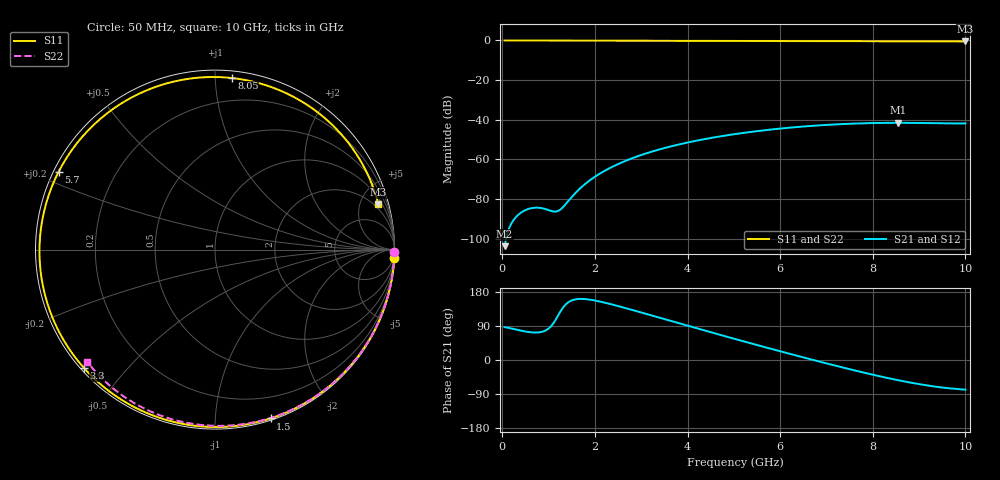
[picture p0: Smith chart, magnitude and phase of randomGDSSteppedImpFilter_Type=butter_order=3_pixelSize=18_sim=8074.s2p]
! freq	dB(S11)	phase(S11)	dB(S12)	phase(S12)
!  dB(S21)	phase(S21)	dB(S22)	phase(S22)
!S-par simulation data
#  GHz  S  DB  R 50
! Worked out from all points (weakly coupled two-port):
!   200 points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, 50 MHz to 10 GHz, reference 50 ohm
!   highest |S21| = -41.56 dB at 8.55 GHz (marker M1); lowest = -103.8 dB at 50 MHz (marker M2)
!   lowest |S11| = -0.5 dB at 10 GHz (marker M3), VSWR 35.19, Z = 74.8 + j352 ohm
!   |S11| at or under -10 dB: nowhere
!   |S22| runs from -0.5 to 0.0 dB; largest |S21 - S12| = 0
!   S11 on the Smith chart (normalised r, x): 50 MHz: 0, -45; 1.5 GHz: 0.01, -1.38; 3.3 GHz: 0.01, -0.38; 5.7 GHz: 0.01, +0.24; 8.05 GHz: 0.04, +1.10; 10 GHz: 1.50, +7.03
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0.05  -0.00 -2.6  -103.80 86.7  -103.80 86.7  -0.00 -0.8
0.45  -0.03 -22.7  -86.20 76.3  -86.20 76.3  -0.01 -7.2
0.85  -0.05 -42.2  -84.61 74.1  -84.61 74.1  -0.02 -13.5
1.15  -0.07 -56.2  -86.37 105.7  -86.37 105.7  -0.02 -18.3
1.45  -0.08 -69.6  -80.34 154.3  -80.34 154.3  -0.03 -23.0
1.5  -0.08 -71.8  -78.98 157.2  -78.98 157.2  -0.03 -23.8
1.75  -0.09 -82.3  -73.18 161.0  -73.18 161.0  -0.04 -27.7
2.05  -0.10 -94.3  -68.01 155.8  -68.01 155.8  -0.04 -32.3
2.4  -0.11 -107.5  -63.47 145.6  -63.47 145.6  -0.05 -37.7
2.85  -0.13 -123.3  -59.04 130.5  -59.04 130.5  -0.06 -44.5
3.3  -0.14 -138.0  -55.61 114.9  -55.61 114.9  -0.07 -51.1
3.4  -0.14 -141.1  -54.94 111.4  -54.94 111.4  -0.07 -52.6
4.2  -0.17 -164.9  -50.54 83.6  -50.54 83.6  -0.09 -64.2
5.05  -0.21 171.4  -47.16 54.6  -47.16 54.6  -0.12 -76.1
5.7  -0.24 153.5  -45.21 32.9  -45.21 32.9  -0.14 -84.9
6.7  -0.28 125.5  -43.07 0.5  -43.07 0.5  -0.19 -98.0
7.4  -0.32 104.8  -42.13 -21.3  -42.13 -21.3  -0.23 -106.9
8.05  -0.35 84.4  -41.66 -40.2  -41.66 -40.2  -0.28 -114.9
8.35  -0.36 74.6  -41.58 -48.3  -41.58 -48.3  -0.30 -118.6
8.55  -0.37 67.9  -41.56 -53.4  -41.56 -53.4  -0.32 -121.1
9.25  -0.42 43.3  -41.73 -68.5  -41.73 -68.5  -0.39 -129.6
10  -0.49 15.5  -41.87 -78.2  -41.87 -78.2  -0.47 -138.6
